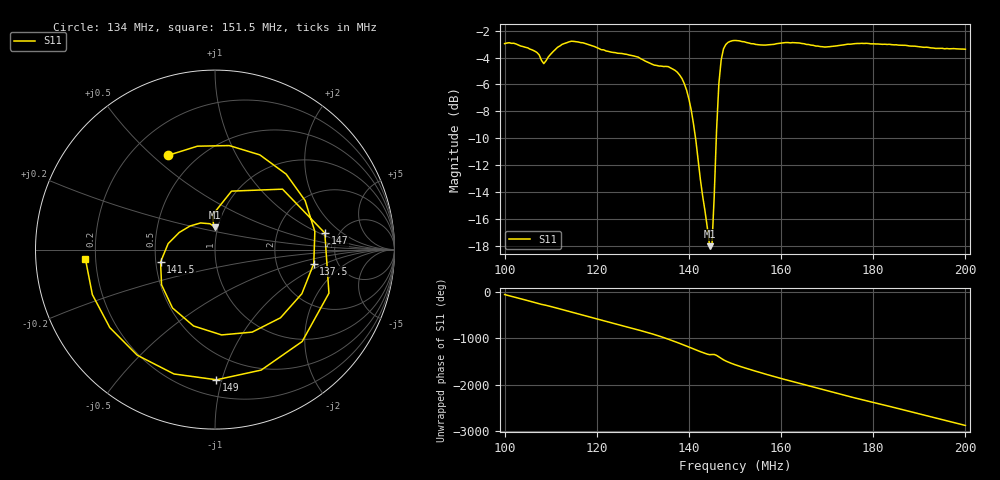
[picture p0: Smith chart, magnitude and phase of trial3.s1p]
#  HZ  S  RI  R  50.00
! Rohde & Schwarz ZVA40 2Ports - Version 3.12 - 1145.1110k40 SN: 100360
! Date: 2019-07-29 16:23:29
! Measurement: S11
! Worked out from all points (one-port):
!   201 points, 100 MHz to 200 MHz, reference 50 ohm
!   lowest |S11| = -18.0 dB at 144.5 MHz (marker M1), VSWR 1.29, Z = 48.4 + j12.3 ohm
!   |S11| at or under -10 dB: 141.4 MHz to 145.9 MHz (4.501 MHz wide, 3.13 % of centre)
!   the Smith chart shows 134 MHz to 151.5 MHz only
!   S11 on the Smith chart (normalised r, x): 134 MHz: 0.35, +0.56; 137.5 MHz: 3.32, -0.75; 141.5 MHz: 0.53, -0.08; 147 MHz: 3.88, +1.16; 149 MHz: 0.31, -0.96; 151.5 MHz: 0.16, -0.04
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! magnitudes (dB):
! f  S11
! 100 MHz  -3.0
! 106.5 MHz  -3.5
! 108.5 MHz  -4.4
! 112.5 MHz  -3.0
! 116 MHz  -2.8
! 125 MHz  -3.7
! 134 MHz  -4.6
! 137.5 MHz  -5.1
! 139.5 MHz  -6.4
! 140.5 MHz  -7.9
! 141.5 MHz  -10.1
! 142.5 MHz  -13.1
! 144.5 MHz  -18.0
! 145 MHz  -18.0
! 145.5 MHz  -14.2
! 146 MHz  -9.4
! 146.5 MHz  -5.9
! 147 MHz  -4.2
! 147.5 MHz  -3.4
! 149 MHz  -2.8
! 150 MHz  -2.7
! 151.5 MHz  -2.8
! 156.5 MHz  -3.1
! 162.5 MHz  -2.9
! 169.5 MHz  -3.2
! 175 MHz  -3.0
! 187.5 MHz  -3.1
! 200 MHz  -3.4
